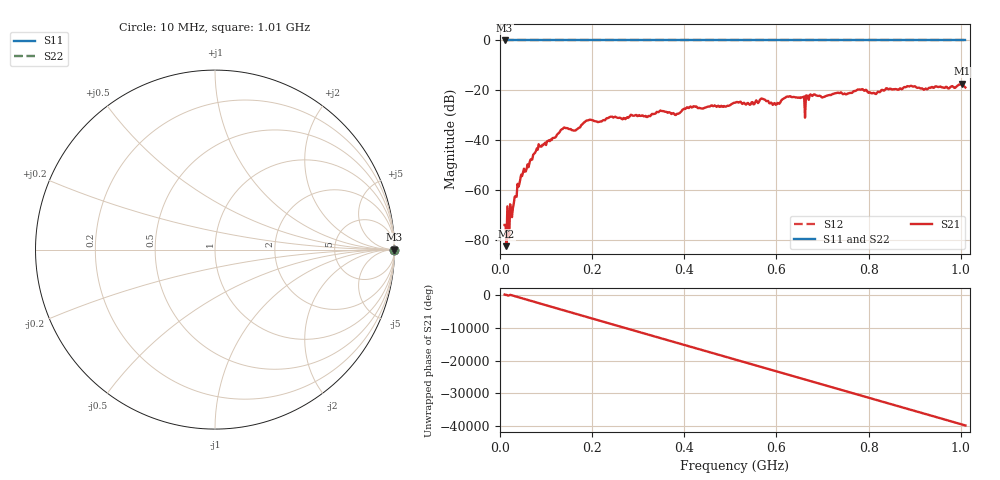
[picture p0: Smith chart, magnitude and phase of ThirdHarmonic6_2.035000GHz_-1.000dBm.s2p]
! 8/17/2025 12:24:56 AM
! C:\ANRITSUVNA\TEMP\TEMP.S2P
! CHANNEL.1
! TR.MEASUREMENT
! RAW.DATA
! RF.CORRECTION.OFF
! AVERAGING.OFF
! IF.BANDWIDTH: 5KHZ
! SWEEPTYPE:  FREQ.SWEEP(Linear)
! Reference Plane Port Info
! PORT:  PORT1  PORT2
! DISTANCE:  0  m  0  m
! TIME:  0  s  0  s
! PHASE.OFFSET:  0  deg.  0  deg.
! LOSS:  0  dB  0  dB
! REF.LOSS:  0  dB  0  dB
! REF.FREQ:  0  Hz  0  Hz
! Power Info
! POWER:  -20  dBm  -20  dBm
! EFF.POWER:  -20  dBm  -20  dBm
! SOURCE.ATTEN:  0  dB  0  dB
! TEST.ATTEN:  0  dB  0  dB
# GHZ S RI R 50.0
! FREQ.GHZ  S11RE  S11IM  S21RE  S21IM  S12RE  S12IM  S22RE  S22IM
!; PortSelection: Port_12
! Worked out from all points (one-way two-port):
!   501 points, 10 MHz to 1.01 GHz, reference 50 ohm
!   highest |S21| = -17.32 dB at 1.002 GHz (marker M1); lowest = -82.4 dB at 14 MHz (marker M2)
!   lowest |S11| = 0.0 dB at 10 MHz (marker M3)
!   |S11| at or under -10 dB: nowhere
!   |S22| runs from 0.0 to 0.0 dB; largest |S21 - S12| = 1.1
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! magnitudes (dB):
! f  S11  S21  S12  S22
! 10 MHz  0.0  -73.9  0.0  0.0
! 14 MHz  0.0  -82.4  0.0  0.0
! 16 MHz  0.0  -66.4  0.0  0.0
! 20 MHz  0.0  -79.2  0.0  0.0
! 22 MHz  0.0  -65.6  0.0  0.0
! 48 MHz  0.0  -54.3  0.0  0.0
! 82 MHz  0.0  -43.7  0.0  0.0
! 136 MHz  0.0  -35.4  0.0  0.0
! 162 MHz  0.0  -36.0  0.0  0.0
! 178 MHz  0.0  -33.7  0.0  0.0
! 344 MHz  0.0  -28.7  0.0  0.0
! 384 MHz  0.0  -29.4  0.0  0.0
! 410 MHz  0.0  -27.0  0.0  0.0
! 510 MHz  0.0  -24.9  0.0  0.0
! 570 MHz  0.0  -23.4  0.0  0.0
! 596 MHz  0.0  -25.1  0.0  0.0
! 626 MHz  0.0  -22.5  0.0  0.0
! 666 MHz  0.0  -22.0  0.0  0.0
! 678 MHz  0.0  -22.2  0.0  0.0
! 844 MHz  0.0  -19.5  0.0  0.0
! 1.002 GHz  0.0  -17.3  0.0  0.0
! 1.01 GHz  0.0  -18.8  0.0  0.0
